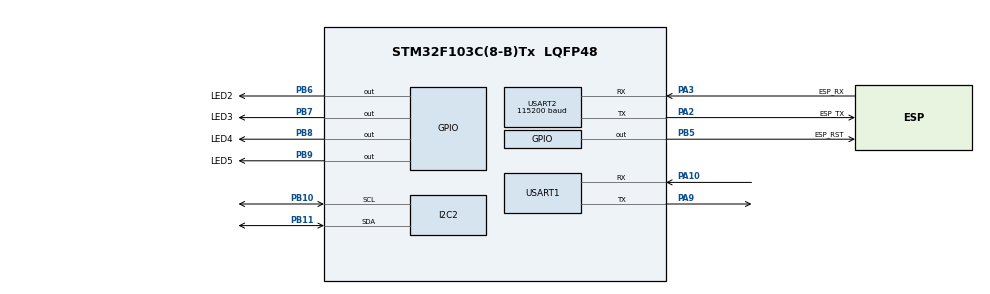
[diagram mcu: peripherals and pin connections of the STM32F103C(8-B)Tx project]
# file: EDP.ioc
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I2C2.I2C_Mode=I2C_Fast
Mcu.Family=STM32F1
Mcu.Name=STM32F103C(8-B)Tx
Mcu.Package=LQFP48
NVIC.PriorityGroup=NVIC_PRIORITYGROUP_4
NVIC.USART2_IRQn=true\:0\:0\:true\:true\:true\:1\:true\:true
PA10.Mode=Asynchronous
PA10.Signal=USART1_RX
PA13.Mode=Serial_Wire
PA13.Signal=SYS_JTMS-SWDIO
PA14.Mode=Serial_Wire
PA14.Signal=SYS_JTCK-SWCLK
PA2.GPIO_Label=ESP_TX
PA2.Mode=Asynchronous
PA2.Signal=USART2_TX
PA3.GPIO_Label=ESP_RX
PA3.Mode=Asynchronous
PA3.Signal=USART2_RX
PA9.Mode=Asynchronous
PA9.Signal=USART1_TX
PB10.Mode=I2C
PB10.Signal=I2C2_SCL
PB11.Mode=I2C
PB11.Signal=I2C2_SDA
PB5.GPIO_Label=ESP_RST
PB5.GPIO_Speed=GPIO_SPEED_FREQ_HIGH
PB5.PinState=GPIO_PIN_SET
PB5.Signal=GPIO_Output
PB6.GPIO_Label=LED2
PB6.GPIO_PuPd=GPIO_PULLUP
PB6.GPIO_Speed=GPIO_SPEED_FREQ_HIGH
PB6.PinState=GPIO_PIN_SET
PB6.Signal=GPIO_Output
PB7.GPIO_Label=LED3
PB7.GPIO_PuPd=GPIO_PULLUP
PB7.GPIO_Speed=GPIO_SPEED_FREQ_HIGH
PB7.PinState=GPIO_PIN_SET
PB7.Signal=GPIO_Output
PB8.GPIO_Label=LED4
PB8.GPIO_PuPd=GPIO_PULLUP
PB8.GPIO_Speed=GPIO_SPEED_FREQ_HIGH
PB8.PinState=GPIO_PIN_SET
PB8.Signal=GPIO_Output
PB9.GPIO_Label=LED5
PB9.GPIO_PuPd=GPIO_PULLUP
PB9.GPIO_Speed=GPIO_SPEED_FREQ_HIGH
PB9.PinState=GPIO_PIN_SET
PB9.Signal=GPIO_Output
PD0-OSC_IN.Mode=HSE-External-Oscillator
PD0-OSC_IN.Signal=RCC_OSC_IN
PD1-OSC_OUT.Mode=HSE-External-Oscillator
PD1-OSC_OUT.Signal=RCC_OSC_OUT
ProjectManager.HeapSize=0x800
ProjectManager.StackSize=0x1000
ProjectManager.TargetToolchain=MDK-ARM V5
RCC.AHBFreq_Value=72000000
RCC.APB1CLKDivider=RCC_HCLK_DIV2
RCC.APB1Freq_Value=36000000
RCC.APB1TimFreq_Value=72000000
RCC.APB2Freq_Value=72000000
RCC.APB2TimFreq_Value=72000000
RCC.EnbaleCSS=true
RCC.HCLKFreq_Value=72000000
RCC.HSE_VALUE=12000000
RCC.PLLMUL=RCC_PLL_MUL6
RCC.PLLSourceVirtual=RCC_PLLSOURCE_HSE
RCC.SYSCLKFreq_VALUE=72000000
RCC.SYSCLKSource=RCC_SYSCLKSOURCE_PLLCLK
RCC.USBFreq_Value=72000000
USART1.VirtualMode=VM_ASYNC
USART2.BaudRate=115200
USART2.VirtualMode=VM_ASYNC
board=EDP

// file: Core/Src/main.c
/* USER CODE BEGIN Header */
/**
  ******************************************************************************
  * @file           : main.c
  * @brief          : Main program body
  ******************************************************************************
  ** This notice applies to any and all portions of this file
  * that are not between comment pairs USER CODE BEGIN and
  * USER CODE END. Other portions of this file, whether
  * inserted by the user or by software development tools
  * are owned by their respective copyright owners.
  *
  * COPYRIGHT(c) 2018 STMicroelectronics
  *
  * Redistribution and use in source and binary forms, with or without modification,
  * are permitted provided that the following conditions are met:
  *   1. Redistributions of source code must retain the above copyright notice,
  *      this list of conditions and the following disclaimer.
  *   2. Redistributions in binary form must reproduce the above copyright notice,
  *      this list of conditions and the following disclaimer in the documentation
  *      and/or other materials provided with the distribution.
  *   3. Neither the name of STMicroelectronics nor the names of its contributors
  *      may be used to endorse or promote products derived from this software
  *      without specific prior written permission.
  *
  * THIS SOFTWARE IS PROVIDED BY THE COPYRIGHT HOLDERS AND CONTRIBUTORS "AS IS"
  * AND ANY EXPRESS OR IMPLIED WARRANTIES, INCLUDING, BUT NOT LIMITED TO, THE
  * IMPLIED WARRANTIES OF MERCHANTABILITY AND FITNESS FOR A PARTICULAR PURPOSE ARE
  * DISCLAIMED. IN NO EVENT SHALL THE COPYRIGHT HOLDER OR CONTRIBUTORS BE LIABLE
  * FOR ANY DIRECT, INDIRECT, INCIDENTAL, SPECIAL, EXEMPLARY, OR CONSEQUENTIAL
  * DAMAGES (INCLUDING, BUT NOT LIMITED TO, PROCUREMENT OF SUBSTITUTE GOODS OR
  * SERVICES; LOSS OF USE, DATA, OR PROFITS; OR BUSINESS INTERRUPTION) HOWEVER
  * CAUSED AND ON ANY THEORY OF LIABILITY, WHETHER IN CONTRACT, STRICT LIABILITY,
  * OR TORT (INCLUDING NEGLIGENCE OR OTHERWISE) ARISING IN ANY WAY OUT OF THE USE
  * OF THIS SOFTWARE, EVEN IF ADVISED OF THE POSSIBILITY OF SUCH DAMAGE.
  *
  ******************************************************************************
  */
/* USER CODE END Header */

#include "main.h"
#include "i2c.h"
#include "usart.h"
#include "gpio.h"

/* USER CODE BEGIN Includes */
#include "esp8266.h"

#include <stdio.h>
#include <string.h>
#include <stdlib.h>

#include "edpkit.h"
#include "onenet.h"
/* USER CODE END Includes */

/* USER CODE BEGIN PV */
extern WIFI_Frame_Typedef wifi_frame;

uint8_t UART2_Data=0;

/* USER CODE END PV */

void SystemClock_Config(void);
static void MX_NVIC_Init(void);

int main(void)
{
  /* USER CODE BEGIN 1 */
  unsigned char *dataPtr = NULL;
	 uint8_t Count=0;
  /* USER CODE END 1 */

  /* MCU Configuration--------------------------------------------------------*/

  /* Reset of all peripherals, Initializes the Flash interface and the Systick. */
  HAL_Init();

  /* Configure the system clock */
  SystemClock_Config();

  /* Initialize all configured peripherals */
  MX_GPIO_Init();
  MX_USART2_UART_Init();
  MX_I2C2_Init();
  MX_USART1_UART_Init();

  /* Initialize interrupts */
  MX_NVIC_Init();
  /* USER CODE BEGIN 2 */

		LL_GPIO_SetOutputPin(GPIOB, ESP_RST_Pin|LED2_Pin|LED3_Pin|LED4_Pin|LED5_Pin);
		LL_mDelay(1000);

		LL_GPIO_ResetOutputPin(GPIOB, ESP_RST_Pin|LED2_Pin|LED3_Pin|LED4_Pin|LED5_Pin);
		LL_mDelay(1000);

		LL_GPIO_SetOutputPin(GPIOB, ESP_RST_Pin|LED2_Pin|LED3_Pin|LED4_Pin|LED5_Pin);
		LL_mDelay(1000);

		HAL_GPIO_WritePin(GPIOB, ESP_RST_Pin, GPIO_PIN_RESET);
		LL_mDelay(100);
		HAL_GPIO_WritePin(GPIOB, ESP_RST_Pin, GPIO_PIN_SET);
		LL_mDelay(10000);

  HAL_UART_Receive_IT(&huart2, &UART2_Data,1);

	 while( WIFI_ATCMD("AT\r\n","OK",NULL,10) )
		{
		LL_mDelay(1000);
		}

	 while( WIFI_ATCMD("AT+CWMODE=3\r\n","OK",NULL,10) )
		{
		LL_mDelay(1000);
		}

		while( WIFI_JAP_Type1("lebment","18162327063") )
		{
		 LL_mDelay(1000);
		}

		while( WIFI_ConnectIP() )
		{
			LL_mDelay(1000);
		}

	while( OneNet_DevLink() )			//接入OneNET
 {
	 LL_mDelay(1000);
	}
	memset(wifi_frame.RX_Buffer,0,WIFI_BUF_LEN);
	wifi_frame.Pointer=0;

//	 while( WIFI_ATCMD("AT+RST\r\n","OK",NULL,15000) )
//		{
//		;
//		}

  /* USER CODE END 2 */

  /* Infinite loop */
  while (1)
  {

    /* USER CODE BEGIN 3 */
			 if(Count>=30)
				{
					OneNet_SendData();
					memset(wifi_frame.RX_Buffer,0,WIFI_BUF_LEN);
					wifi_frame.Pointer=0;
					Count=0;
				}

				dataPtr = WIFI_GetIPD(0);
				if(dataPtr != NULL)
				{
					OneNet_RevPro(dataPtr);
					memset(wifi_frame.RX_Buffer,0,WIFI_BUF_LEN);
					wifi_frame.Pointer=0;
				}

				Count++;

				LL_mDelay(100);
  }
  /* USER CODE END 3 */
}

void SystemClock_Config(void)
{
  LL_FLASH_SetLatency(LL_FLASH_LATENCY_2);

   if(LL_FLASH_GetLatency() != LL_FLASH_LATENCY_2)
  {
    Error_Handler();
  }
  LL_RCC_HSE_Enable();

   /* Wait till HSE is ready */
  while(LL_RCC_HSE_IsReady() != 1)
  {

  }
  LL_RCC_HSE_EnableCSS();
  LL_RCC_PLL_ConfigDomain_SYS(LL_RCC_PLLSOURCE_HSE_DIV_1, LL_RCC_PLL_MUL_6);
  LL_RCC_PLL_Enable();

   /* Wait till PLL is ready */
  while(LL_RCC_PLL_IsReady() != 1)
  {

  }
  LL_RCC_SetAHBPrescaler(LL_RCC_SYSCLK_DIV_1);
  LL_RCC_SetAPB1Prescaler(LL_RCC_APB1_DIV_2);
  LL_RCC_SetAPB2Prescaler(LL_RCC_APB2_DIV_1);
  LL_RCC_SetSysClkSource(LL_RCC_SYS_CLKSOURCE_PLL);

   /* Wait till System clock is ready */
  while(LL_RCC_GetSysClkSource() != LL_RCC_SYS_CLKSOURCE_STATUS_PLL)
  {

  }
  LL_Init1msTick(72000000);
  LL_SYSTICK_SetClkSource(LL_SYSTICK_CLKSOURCE_HCLK);
  LL_SetSystemCoreClock(72000000);
}

/**
  * @brief NVIC Configuration.
  * @retval None
  */
static void MX_NVIC_Init(void)
{
  /* USART2_IRQn interrupt configuration */
  HAL_NVIC_SetPriority(USART2_IRQn, 0, 0);
  HAL_NVIC_EnableIRQ(USART2_IRQn);
}

/* USER CODE BEGIN 4 */

void HAL_UART_RxCpltCallback(UART_HandleTypeDef *huart)
{
  HAL_UART_Receive_IT(&huart2, &UART2_Data,1);

	 wifi_frame.RX_Buffer[wifi_frame.Pointer++]=UART2_Data;

	 if(wifi_frame.Pointer>WIFI_BUF_LEN)
		{
		 wifi_frame.OverLenth_Flag=1;
		}
}

/* USER CODE END 4 */

void Error_Handler(void)
{
}

/************************ (C) COPYRIGHT STMicroelectronics *****END OF FILE****/
